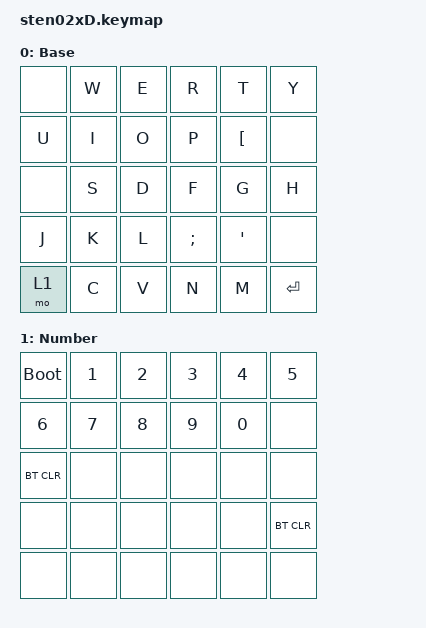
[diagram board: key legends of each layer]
#include <behaviors.dtsi>
#include <dt-bindings/zmk/keys.h>
#include <dt-bindings/zmk/bt.h>

/ {
    keymap {
        compatible = "zmk,keymap";

        default_layer {
            display-name = "Base";
            bindings = <
                &none   &kp W    &kp E    &kp R    &kp T    &kp Y    
                &kp U    &kp I    &kp O    &kp P    &kp LBKT &none
                &none   &kp S    &kp D    &kp F    &kp G    &kp H    
                &kp J    &kp K    &kp L    &kp SEMI    &kp SQT &none
                                                          
                &mo 1    &kp C    &kp V    &kp N    &kp M    &kp ENTER
            >;
        };
        
        layer_1 {
            display-name = "Number";
            bindings = <
                &bootloader  &kp N1    &kp N2    &kp N3    &kp N4    &kp N5    
                &kp N6    &kp N7    &kp N8  &kp N9    &kp N0    &none
                &bt BT_CLR    &none      &none      &none     &none      &none      
                &none     &none      &none    &none     &none      &bt BT_CLR    
                
                &none     &none      &none      &none     &none      &none 
            >;
        };
        
        
    };
 };
